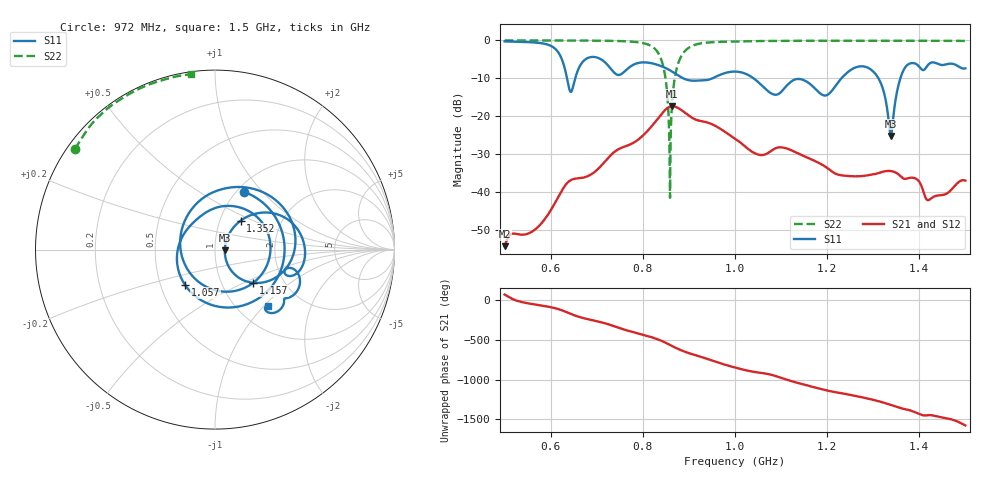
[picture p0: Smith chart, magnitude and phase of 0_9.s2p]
! TOUCHSTONE file generated by CST MICROWAVE STUDIO
! Date and time: Sat Oct 24 10:42:33 2020
! Project name: Scenario_1_Planar_Body_Tissue_Center.cst
! Parameters = {hfat=3; hmuscle=50; hskin=1.5; hgap=25; Wtissue=700; Ltissue=700; L_HA=400; MT=2.54; Rad_Dielectric=30; Rad_Lower=7.3; Rad_Upper=30; a_HA=580; a_WG=246; b_HA=500; b_WG=121; c_HA=0; c_WG=187; d_feed=85; dx1=311.56; h_feed=15; h_lower=18; h_upper=40}
! Header version: 2018
! Port assignment regex: !\s*Touchstone port\s*([0-9]+)\s*=\s*(CST MWS port|CST DS port)\s*([0-9]+|Zmin|Zmax)\s*\(\"(.*)\"\)(\s*mode\s*([0-9]+))?.*
! Touchstone port assignment:
! Touchstone port 1 = CST MWS port 1 ("")
! Touchstone port 2 = CST MWS port 2 ("")
# GHz S DB R 50
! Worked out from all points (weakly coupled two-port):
!   1003 points, 500 MHz to 1.5 GHz, reference 50 ohm
!   highest |S21| = -17.39 dB at 864 MHz (marker M1); lowest = -54.4 dB at 500 MHz (marker M2)
!   lowest |S11| = -25.2 dB at 1.338 GHz (marker M3), VSWR 1.12, Z = 55.8 - j0.392 ohm
!   |S11| at or under -10 dB: 887.5 MHz to 951.3 MHz (63.76 MHz wide, 6.94 % of centre); 1.04 GHz to 1.231 GHz (190.9 MHz wide, 16.8 % of centre); 1.311 GHz to 1.359 GHz (47.7 MHz wide, 3.57 % of centre) (the widest 3 of 4)
!   |S22| runs from -41.6 to 0.0 dB; largest |S21 - S12| = 6.7e-05
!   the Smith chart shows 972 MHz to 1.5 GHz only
!   S11 on the Smith chart (normalised r, x): 972 MHz: 1.08, +0.80; 1.057 GHz: 0.67, -0.28; 1.157 GHz: 1.41, -0.57; 1.352 GHz: 1.26, +0.43; 1.5 GHz: 1.37, -1.04
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0.5  -0.26 -122.7  -54.35 70.0  -54.35 70.0  -0.01 151.1
0.62  -3.85 150.5  -40.57 -119.5  -40.57 -119.5  -0.02 142.5
0.667  -6.05 -177.2  -36.32 140.0  -36.32 140.0  -0.04 138.4
0.714  -5.39 93.8  -32.52 74.5  -32.52 74.5  -0.08 133.1
0.739  -8.64 4.8  -29.38 28.8  -29.38 28.8  -0.13 129.4
0.763  -7.92 -105.7  -27.94 -16.9  -27.94 -16.8  -0.23 124.8
0.793  -5.88 165.7  -25.90 -63.7  -25.90 -63.8  -0.54 115.8
0.834  -6.53 72.2  -20.44 -137.4  -20.44 -137.4  -3.45 85.1
0.864  -8.26 -2.3  -17.39 140.9  -17.39 140.9  -15.59 -144.5
0.888  -10.03 -65.7  -18.78 77.5  -18.78 77.5  -3.30 -179.4
0.928  -10.56 177.7  -21.34 2.4  -21.34 2.4  -0.74 155.5
0.972  -8.87 63.1  -23.65 -81.7  -23.65 -81.7  -0.36 144.3
1  -8.23 -0.1  -25.94 -128.4  -25.94 -128.4  -0.28 140.1
1.057  -11.76 -130.2  -30.29 163.1  -30.29 163.1  -0.16 133.7
1.157  -10.99 -41.1  -30.94 5.6  -30.94 5.6  -0.09 124.9
1.167  -11.94 -66.6  -31.49 -9.6  -31.49 -9.6  -0.10 124.1
1.239  -9.01 76.9  -35.75 -99.9  -35.75 -99.9  -0.09 118.7
1.288  -7.19 -3.9  -35.63 -158.9  -35.64 -158.9  -0.08 115.0
1.334  -21.82 -41.8  -34.47 128.4  -34.47 128.4  -0.08 111.5
1.338  -25.23 -3.7  -34.50 120.6  -34.50 120.6  -0.09 111.2
1.352  -13.31 48.4  -35.13 93.2  -35.13 93.2  -0.09 110.1
1.5  -7.37 -46.8  -37.03 -137.7  -37.03 -137.7  -0.13 97.9
